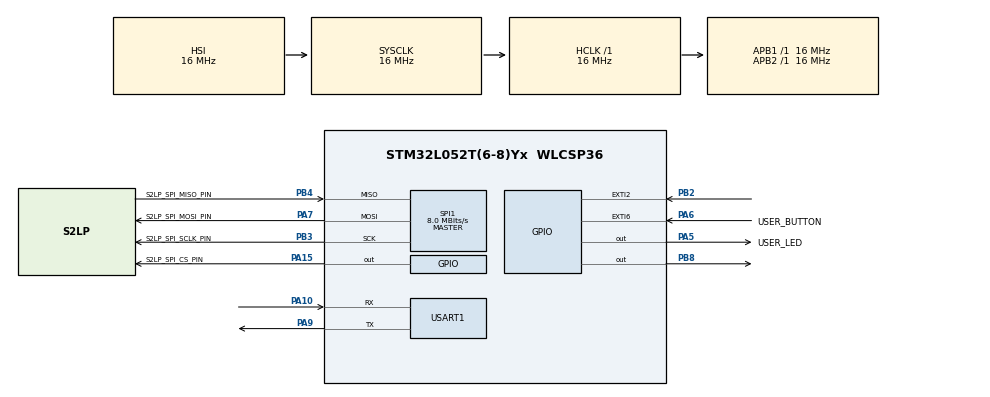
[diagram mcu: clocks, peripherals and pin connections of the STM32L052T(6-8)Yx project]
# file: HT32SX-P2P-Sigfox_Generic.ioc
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Dma.Request0=SPI1_TX
Dma.Request1=SPI1_RX
Dma.Request2=USART1_RX
Dma.Request3=USART1_TX
Dma.SPI1_RX.1.Direction=DMA_PERIPH_TO_MEMORY
Dma.SPI1_RX.1.Instance=DMA1_Channel2
Dma.SPI1_RX.1.MemDataAlignment=DMA_MDATAALIGN_BYTE
Dma.SPI1_RX.1.MemInc=DMA_MINC_ENABLE
Dma.SPI1_RX.1.Mode=DMA_NORMAL
Dma.SPI1_RX.1.PeriphDataAlignment=DMA_PDATAALIGN_BYTE
Dma.SPI1_RX.1.PeriphInc=DMA_PINC_DISABLE
Dma.SPI1_RX.1.Priority=DMA_PRIORITY_HIGH
Dma.SPI1_TX.0.Direction=DMA_MEMORY_TO_PERIPH
Dma.SPI1_TX.0.Instance=DMA1_Channel3
Dma.SPI1_TX.0.MemDataAlignment=DMA_MDATAALIGN_BYTE
Dma.SPI1_TX.0.MemInc=DMA_MINC_ENABLE
Dma.SPI1_TX.0.Mode=DMA_NORMAL
Dma.SPI1_TX.0.PeriphDataAlignment=DMA_PDATAALIGN_BYTE
Dma.SPI1_TX.0.PeriphInc=DMA_PINC_DISABLE
Dma.SPI1_TX.0.Priority=DMA_PRIORITY_HIGH
Dma.USART1_RX.2.Direction=DMA_PERIPH_TO_MEMORY
Dma.USART1_RX.2.Instance=DMA1_Channel5
Dma.USART1_RX.2.MemDataAlignment=DMA_MDATAALIGN_BYTE
Dma.USART1_RX.2.MemInc=DMA_MINC_ENABLE
Dma.USART1_RX.2.Mode=DMA_CIRCULAR
Dma.USART1_RX.2.PeriphDataAlignment=DMA_PDATAALIGN_BYTE
Dma.USART1_RX.2.PeriphInc=DMA_PINC_DISABLE
Dma.USART1_RX.2.Priority=DMA_PRIORITY_LOW
Dma.USART1_TX.3.Direction=DMA_MEMORY_TO_PERIPH
Dma.USART1_TX.3.Instance=DMA1_Channel4
Dma.USART1_TX.3.MemDataAlignment=DMA_MDATAALIGN_BYTE
Dma.USART1_TX.3.MemInc=DMA_MINC_ENABLE
Dma.USART1_TX.3.Mode=DMA_NORMAL
Dma.USART1_TX.3.PeriphDataAlignment=DMA_PDATAALIGN_BYTE
Dma.USART1_TX.3.PeriphInc=DMA_PINC_DISABLE
Dma.USART1_TX.3.Priority=DMA_PRIORITY_HIGH
Mcu.Family=STM32L0
Mcu.Name=STM32L052T(6-8)Yx
Mcu.Package=WLCSP36
NVIC.ADC1_COMP_IRQn=true\:2\:0\:true\:false\:true\:true\:true
NVIC.DMA1_Channel2_3_IRQn=true\:1\:0\:true\:false\:true\:false\:true
NVIC.DMA1_Channel4_5_6_7_IRQn=true\:0\:0\:false\:false\:true\:false\:true
NVIC.EXTI2_3_IRQn=true\:0\:0\:false\:false\:true\:true\:true
NVIC.EXTI4_15_IRQn=true\:2\:0\:true\:false\:true\:true\:true
NVIC.RTC_IRQn=true\:1\:0\:true\:false\:true\:true\:true
PA10.Mode=Asynchronous
PA10.Signal=USART1_RX
PA13.Mode=Serial_Wire
PA13.Signal=SYS_SWDIO
PA14.Mode=Serial_Wire
PA14.Signal=SYS_SWCLK
PA15.GPIO_Label=S2LP_SPI_CS_PIN
PA15.GPIO_PuPd=GPIO_PULLUP
PA15.GPIO_Speed=GPIO_SPEED_FREQ_HIGH
PA15.PinState=GPIO_PIN_SET
PA15.Signal=GPIO_Output
PA5.GPIO_Label=USER_LED
PA5.Signal=GPIO_Output
PA6.GPIO_Label=USER_BUTTON
PA6.GPIO_ModeDefaultEXTI=GPIO_MODE_IT_FALLING
PA6.GPIO_PuPd=GPIO_PULLUP
PA6.Signal=GPXTI6
PA7.GPIO_Label=S2LP_SPI_MOSI_PIN
PA7.GPIO_PuPd=GPIO_PULLUP
PA7.GPIO_Speed=GPIO_SPEED_FREQ_HIGH
PA7.Mode=Full_Duplex_Master
PA7.Signal=SPI1_MOSI
PA9.Mode=Asynchronous
PA9.Signal=USART1_TX
PB2.GPIO_ModeDefaultEXTI=GPIO_MODE_IT_FALLING
PB2.Signal=GPXTI2
PB3.GPIO_Label=S2LP_SPI_SCLK_PIN
PB3.GPIO_PuPd=GPIO_PULLUP
PB3.GPIO_Speed=GPIO_SPEED_FREQ_HIGH
PB3.Mode=Full_Duplex_Master
PB3.Signal=SPI1_SCK
PB4.GPIO_Label=S2LP_SPI_MISO_PIN
PB4.GPIO_PuPd=GPIO_PULLUP
PB4.GPIO_Speed=GPIO_SPEED_FREQ_HIGH
PB4.Mode=Full_Duplex_Master
PB4.Signal=SPI1_MISO
PB8.GPIO_Speed=GPIO_SPEED_FREQ_HIGH
PB8.Signal=GPIO_Output
ProjectManager.HeapSize=0x200
ProjectManager.StackSize=0x400
ProjectManager.TargetToolchain=STM32CubeIDE
RCC.AHBFreq_Value=16000000
RCC.APB1Freq_Value=16000000
RCC.APB1TimFreq_Value=16000000
RCC.APB2Freq_Value=16000000
RCC.APB2TimFreq_Value=16000000
RCC.HCLKFreq_Value=16000000
RCC.HSI16_VALUE=16000000
RCC.HSI48_VALUE=48000000
RCC.HSI_VALUE=16000000
RCC.LSE_VALUE=32768
RCC.MSI_VALUE=2097000
RCC.PLLDIV=RCC_PLLDIV_4
RCC.PLLMUL=RCC_PLLMUL_4
RCC.SYSCLKFreq_VALUE=16000000
RCC.SYSCLKSource=RCC_SYSCLKSOURCE_HSI
RCC.VCOOutputFreq_Value=64000000
RTC.WakeUpCounter=1000
SPI1.CalculateBaudRate=8.0 MBits/s
SPI1.Direction=SPI_DIRECTION_2LINES
SPI1.Mode=SPI_MODE_MASTER
SPI1.VirtualType=VM_MASTER
USART1.VirtualMode-Asynchronous=VM_ASYNC
VP_ADC_TempSens_Input.Mode=IN-TempSens
VP_ADC_Vref_Input.Mode=IN-Vrefint
VP_RTC_VS_RTC_Activate.Mode=RTC_Enabled
VP_RTC_VS_RTC_Calendar.Mode=RTC_Calendar
VP_RTC_VS_RTC_WakeUp_intern.Mode=WakeUp
VP_TIM2_VS_ClockSourceINT.Mode=Internal
board=custom

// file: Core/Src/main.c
/* USER CODE BEGIN Header */
/**
 ******************************************************************************
 * @file           : main.c
 * @brief          : Main program body
 ******************************************************************************
 * @attention
 *
 * <h2><center>&copy; Copyright (c) 2019 STMicroelectronics.
 * All rights reserved.</center></h2>
 *
 * This software component is licensed by ST under BSD 3-Clause license,
 * the "License"; You may not use this file except in compliance with the
 * License. You may obtain a copy of the License at:
 *                        opensource.org/licenses/BSD-3-Clause
 *
 ******************************************************************************
 */
/* USER CODE END Header */

#include "main.h"
#include "adc.h"
#include "dma.h"
#include "rtc.h"
#include "spi.h"
#include "tim.h"
#include "usart.h"
#include "gpio.h"

/* USER CODE BEGIN Includes */
#include "HT_data_repeater.h"
#include "HT_P2P_api.h"
/* USER CODE END Includes */

void SystemClock_Config(void);
/* USER CODE BEGIN PFP */
void ST_Init(void);
/* USER CODE END PFP */

/* USER CODE BEGIN 0 */

extern HT_DR_States state;

/* USER CODE END 0 */

int main(void)
{

	/* MCU Configuration--------------------------------------------------------*/

	/* Reset of all peripherals, Initializes the Flash interface and the Systick. */
	HAL_Init();

	/* Configure the system clock */
	SystemClock_Config();

	/* Initialize all configured peripherals */
	MX_GPIO_Init();
	MX_DMA_Init();
	MX_RTC_Init();
	MX_SPI1_Init();
	MX_USART1_UART_Init();
	MX_ADC_Init();
	MX_TIM2_Init();
	/* USER CODE BEGIN 2 */

	printf("HT32SX - Data Repeater Application.\n");
	printf("My P2P Address: 0x%02X\n", MY_ADDRESS);

	if(MY_ADDRESS == GATEWAY_ID)
		HT_NVM_InitBkpAddress();

	HT_P2P_Radio_Init();
	HT_P2P_Init();

	state = (MY_ADDRESS != FIRST_ADDRESS) ? SM_STATE_START_RX : SM_STATE_SEND_DATA;

	/* USER CODE END 2 */

	/* Infinite loop */
	while (1)
	{

		/* USER CODE BEGIN 3 */

		HT_DR_Fsm();

	}
	/* USER CODE END 3 */
}

void SystemClock_Config(void)
{
	RCC_OscInitTypeDef RCC_OscInitStruct = {0};
	RCC_ClkInitTypeDef RCC_ClkInitStruct = {0};
	RCC_PeriphCLKInitTypeDef PeriphClkInit = {0};

	/** Configure the main internal regulator output voltage
	 */
	__HAL_PWR_VOLTAGESCALING_CONFIG(PWR_REGULATOR_VOLTAGE_SCALE1);
	/** Initializes the CPU, AHB and APB busses clocks
	 */
	RCC_OscInitStruct.OscillatorType = RCC_OSCILLATORTYPE_HSI|RCC_OSCILLATORTYPE_LSI;
	RCC_OscInitStruct.HSIState = RCC_HSI_ON;
	RCC_OscInitStruct.HSICalibrationValue = RCC_HSICALIBRATION_DEFAULT;
	RCC_OscInitStruct.LSIState = RCC_LSI_ON;
	RCC_OscInitStruct.PLL.PLLState = RCC_PLL_NONE;
	if (HAL_RCC_OscConfig(&RCC_OscInitStruct) != HAL_OK)
	{
		Error_Handler();
	}
	/** Initializes the CPU, AHB and APB busses clocks
	 */
	RCC_ClkInitStruct.ClockType = RCC_CLOCKTYPE_HCLK|RCC_CLOCKTYPE_SYSCLK
			|RCC_CLOCKTYPE_PCLK1|RCC_CLOCKTYPE_PCLK2;
	RCC_ClkInitStruct.SYSCLKSource = RCC_SYSCLKSOURCE_HSI;
	RCC_ClkInitStruct.AHBCLKDivider = RCC_SYSCLK_DIV1;
	RCC_ClkInitStruct.APB1CLKDivider = RCC_HCLK_DIV1;
	RCC_ClkInitStruct.APB2CLKDivider = RCC_HCLK_DIV1;

	if (HAL_RCC_ClockConfig(&RCC_ClkInitStruct, FLASH_LATENCY_0) != HAL_OK)
	{
		Error_Handler();
	}
	PeriphClkInit.PeriphClockSelection = RCC_PERIPHCLK_USART1|RCC_PERIPHCLK_RTC;
	PeriphClkInit.Usart1ClockSelection = RCC_USART1CLKSOURCE_PCLK2;
	PeriphClkInit.RTCClockSelection = RCC_RTCCLKSOURCE_LSI;
	if (HAL_RCCEx_PeriphCLKConfig(&PeriphClkInit) != HAL_OK)
	{
		Error_Handler();
	}
}

/* USER CODE BEGIN 4 */

void HT_Main_McuConfig(void) {
	ST_SFX_ERR stSfxRetErr;

	ST_Init();

	NVM_BoardDataType sfxConfiguration;
	stSfxRetErr = ST_Sigfox_Init(&sfxConfiguration, 0);

	if(stSfxRetErr != ST_SFX_ERR_NONE) {
		if(stSfxRetErr == ST_SFX_ERR_CREDENTIALS) {
			sfxConfiguration.id = 0;
			memset(sfxConfiguration.pac, 0x00, 8);
			sfxConfiguration.rcz = 0;

		}
	}

	/* Calibrate RTC in case of STM32*/
	ST_MCU_API_TimerCalibration(500);

	printf("Sigfox ID: %.8X - PAC: ", (unsigned int)sfxConfiguration.id);
	for(uint16_t i = 0; i < sizeof(sfxConfiguration.pac); i++)
		printf("%.2X", sfxConfiguration.pac[i]);

	printf("\n");

	/*  SET S2LP XTAL FREQUENCY
		DO NOT CHANGE IT */
	ST_RF_API_set_xtal_freq(50000000);

	ST_RF_API_set_freq_offset(sfxConfiguration.freqOffset);
	ST_RF_API_set_lbt_thr_offset(sfxConfiguration.lbtOffset);
	ST_RF_API_set_rssi_offset(sfxConfiguration.rssiOffset);
}

void ST_Init(void) {
	/* Put the radio off */
	S2LPShutdownInit();
	HAL_Delay(10);
	S2LPShutdownExit();

	/* FEM Initialization */
	FEM_Init();
}

/* USER CODE END 4 */

void Error_Handler(void)
{
}

/************************ (C) COPYRIGHT STMicroelectronics *****END OF FILE****/
